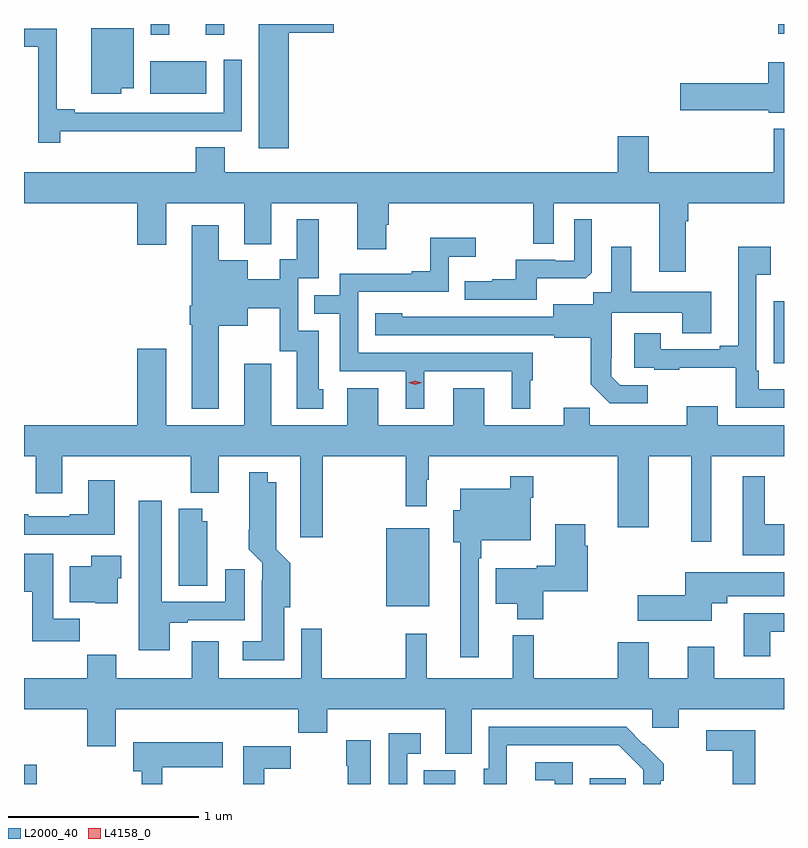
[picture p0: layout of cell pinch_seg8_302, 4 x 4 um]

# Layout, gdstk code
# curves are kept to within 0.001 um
import gdstk
lib = gdstk.Library(unit=1e-6, precision=1e-09)
def R(c, l, rs):  # rectangles x0, y0, x1, y1
    for r in rs: c.add(gdstk.rectangle(r[:2], r[2:], *l))
def P(c, l, *ps):  # polygons
    for p in ps: c.add(gdstk.Polygon(p, *l))
L2000_40 = (2000, 40)
L4158_0 = (4158, 0)

pinch_seg8_302 = lib.new_cell('pinch_seg8_302')
R(pinch_seg8_302, L2000_40, [(533.511,1146.743,533.578,1146.844), (535.616,1146.743,535.78,1146.816), (536.489,1146.743,536.677,1146.772), (535.418,1147.679,535.645,1148.089), (537.456,1148.957,537.511,1149.283), (534.176,1150.376,534.469,1150.546), (534.177,1150.686,534.275,1150.743), (534.467,1150.686,534.566,1150.743), (537.48,1150.691,537.511,1150.743)])
P(pinch_seg8_302, L2000_40, [(534.905,1150.697),(535.141,1150.697),(535.141,1150.743),(534.746,1150.743),(534.746,1150.089),(534.905,1150.089)],
  [(534.022,1150.406),(534.088,1150.406),(534.088,1150.72),(533.864,1150.72),(533.864,1150.376),(534.022,1150.376)],
  [(533.702,1150.178),(534.332,1150.178),(534.332,1150.179),(534.657,1150.179),(534.657,1150.555),(534.561,1150.555),(534.561,1150.275),(533.779,1150.275),(533.779,1150.295),(533.684,1150.295),(533.684,1150.719),(533.511,1150.719),(533.511,1150.623),(533.586,1150.623),(533.586,1150.119),(533.702,1150.119)],
  [(537.511,1150.543),(537.428,1150.543),(537.428,1150.43),(536.964,1150.43),(536.964,1150.288),(537.432,1150.288),(537.432,1150.277),(537.511,1150.277)],
  [(536.995,1149.704),(537.008,1149.704),(537.008,1149.8),(537.511,1149.8),(537.511,1150.192),(537.457,1150.192),(537.457,1149.964),(536.8,1149.964),(536.8,1150.153),(536.636,1150.153),(536.636,1149.964),(534.568,1149.964),(534.568,1150.094),(534.416,1150.094),(534.416,1149.964),(533.511,1149.964),(533.511,1149.8),(534.107,1149.8),(534.107,1149.582),(534.259,1149.582),(534.259,1149.8),(534.671,1149.8),(534.671,1149.584),(534.811,1149.584),(534.811,1149.8),(535.265,1149.8),(535.265,1149.558),(535.417,1149.558),(535.417,1149.687),(535.43,1149.687),(535.43,1149.8),(536.19,1149.8),(536.19,1149.586),(536.298,1149.586),(536.298,1149.8),(536.855,1149.8),(536.855,1149.438),(536.995,1149.438)],
  [(534.535,1149.155),(534.688,1149.155),(534.688,1149.248),(534.858,1149.248),(534.858,1149.021),(534.947,1149.021),(534.947,1148.718),(535.087,1148.718),(535.087,1148.82),(535.063,1148.82),(535.063,1149.129),(534.954,1149.129),(534.954,1149.405),(535.063,1149.405),(535.063,1149.715),(534.947,1149.715),(534.947,1149.506),(534.857,1149.506),(534.857,1149.4),(534.688,1149.4),(534.688,1149.499),(534.535,1149.499),(534.535,1149.685),(534.395,1149.685),(534.395,1149.259),(534.383,1149.259),(534.383,1149.159),(534.395,1149.159),(534.395,1148.717),(534.535,1148.717)],
  [(536.209,1149.404),(536.467,1149.404),(536.499,1149.435),(536.499,1149.715),(536.406,1149.715),(536.406,1149.498),(536.306,1149.498),(536.306,1149.501),(536.099,1149.501),(536.099,1149.4),(535.975,1149.4),(535.975,1149.388),(535.831,1149.388),(535.831,1149.291),(536.209,1149.291)],
  [(535.618,1148.916),(536.078,1148.916),(536.078,1148.717),(536.176,1148.717),(536.176,1148.868),(536.188,1148.868),(536.188,1149.012),(535.269,1149.012),(535.269,1149.333),(535.746,1149.333),(535.746,1149.518),(535.888,1149.518),(535.888,1149.617),(535.648,1149.617),(535.648,1149.442),(535.553,1149.442),(535.553,1149.429),(535.173,1149.429),(535.173,1149.315),(535.039,1149.315),(535.039,1149.219),(535.173,1149.219),(535.173,1148.916),(535.52,1148.916),(535.52,1148.717),(535.618,1148.717)],
  [(537.511,1148.821),(537.379,1148.821),(537.379,1148.917),(537.366,1148.917),(537.366,1149.422),(537.442,1149.422),(537.442,1149.571),(537.269,1149.571),(537.269,1149.049),(537.173,1149.049),(537.173,1149.03),(536.863,1149.03),(536.863,1149.115),(536.723,1149.115),(536.723,1148.934),(536.827,1148.934),(536.827,1148.922),(536.959,1148.922),(536.959,1148.933),(537.258,1148.933),(537.258,1148.724),(537.511,1148.724)],
  [(536.794,1148.841),(536.649,1148.841),(536.602,1148.888),(536.602,1148.983),(536.604,1148.983),(536.604,1149.224),(536.975,1149.224),(536.975,1149.115),(537.127,1149.115),(537.127,1149.334),(536.707,1149.334),(536.707,1149.571),(536.603,1149.571),(536.603,1149.332),(536.508,1149.332),(536.508,1149.268),(536.297,1149.268),(536.297,1149.201),(535.503,1149.202),(535.503,1149.22),(535.359,1149.22),(535.359,1149.105),(536.301,1149.105),(536.301,1149.093),(536.493,1149.093),(536.493,1148.847),(536.593,1148.747),(536.794,1148.747)],
  [(537.023,1148.019),(537.127,1148.019),(537.127,1148.468),(537.511,1148.468),(537.511,1148.632),(537.163,1148.632),(537.163,1148.731),(536.999,1148.731),(536.999,1148.632),(536.489,1148.632),(536.489,1148.723),(536.351,1148.723),(536.351,1148.632),(535.933,1148.632),(535.933,1148.827),(535.769,1148.827),(535.769,1148.632),(535.375,1148.632),(535.375,1148.827),(535.211,1148.827),(535.211,1148.632),(534.811,1148.632),(534.811,1148.956),(534.671,1148.956),(534.671,1148.632),(534.259,1148.632),(534.259,1149.034),(534.107,1149.034),(534.107,1148.632),(533.511,1148.632),(533.511,1148.468),(533.573,1148.468),(533.573,1148.274),(533.713,1148.274),(533.713,1148.468),(534.388,1148.468),(534.388,1148.276),(534.535,1148.276),(534.535,1148.468),(534.965,1148.468),(534.965,1148.043),(535.083,1148.043),(535.083,1148.468),(535.521,1148.468),(535.521,1148.205),(535.63,1148.205),(535.63,1148.345),(535.642,1148.345),(535.642,1148.468),(536.636,1148.468),(536.636,1148.094),(536.8,1148.094),(536.8,1148.468),(537.023,1148.468)],
  [(534.88,1147.674),(534.911,1147.674),(534.911,1147.906),(534.839,1147.978),(534.838,1148.332),(534.793,1148.332),(534.793,1148.383),(534.696,1148.383),(534.695,1147.978),(534.765,1147.908),(534.765,1147.814),(534.761,1147.814),(534.761,1147.495),(534.663,1147.495),(534.663,1147.394),(534.88,1147.394)],
  [(537.511,1148.11),(537.409,1148.11),(537.409,1148.362),(537.293,1148.362),(537.293,1147.946),(537.511,1147.946)],
  [(535.905,1147.931),(535.918,1147.931),(535.918,1148.027),(536.178,1148.027),(536.178,1148.249),(536.191,1148.249),(536.191,1148.362),(536.07,1148.362),(536.07,1148.296),(535.808,1148.296),(535.808,1148.185),(535.769,1148.185),(535.769,1148.015),(535.808,1148.015),(535.808,1147.41),(535.905,1147.41)],
  [(533.989,1148.341),(533.849,1148.341),(533.849,1148.164),(533.753,1148.164),(533.753,1148.151),(533.533,1148.151),(533.533,1148.164),(533.511,1148.164),(533.511,1148.055),(533.989,1148.055)],
  [(534.277,1147.593),(534.373,1147.593),(534.373,1147.605),(534.673,1147.605),(534.673,1147.873),(534.569,1147.873),(534.569,1147.701),(534.235,1147.701),(534.235,1148.233),(534.116,1148.233),(534.116,1147.446),(534.277,1147.446)],
  [(534.475,1148.127),(534.448,1148.127),(534.448,1148.191),(534.326,1148.191),(534.326,1147.786),(534.475,1147.786)],
  [(536.243,1147.757),(536.477,1147.757),(536.477,1147.997),(536.464,1147.997),(536.464,1148.11),(536.306,1148.11),(536.306,1147.892),(536.21,1147.892),(536.21,1147.879),(535.994,1147.879),(535.994,1147.691),(536.108,1147.691),(536.108,1147.61),(536.243,1147.61)],
  [(533.804,1147.612),(533.665,1147.612),(533.665,1147.954),(533.511,1147.954),(533.511,1147.754),(533.555,1147.754),(533.555,1147.494),(533.804,1147.494)],
  [(534.004,1147.827),(534.022,1147.827),(534.022,1147.945),(533.864,1147.945),(533.864,1147.888),(533.753,1147.888),(533.753,1147.7),(533.886,1147.7),(533.886,1147.694),(534.004,1147.694)],
  [(537.13,1147.694),(537.211,1147.694),(537.211,1147.73),(537.511,1147.73),(537.511,1147.858),(536.99,1147.858),(536.99,1147.736),(536.742,1147.736),(536.742,1147.601),(537.13,1147.601)],
  [(537.439,1147.545),(537.511,1147.545),(537.511,1147.641),(537.299,1147.641),(537.299,1147.416),(537.439,1147.416)],
  [(535.867,1147.136),(536.817,1147.136),(536.817,1147.038),(536.956,1147.038),(536.956,1147.136),(537.511,1147.136),(537.511,1147.3),(537.145,1147.3),(537.145,1147.465),(537.005,1147.465),(537.005,1147.3),(536.8,1147.3),(536.8,1147.489),(536.636,1147.489),(536.636,1147.3),(536.194,1147.3),(536.194,1147.525),(536.084,1147.525),(536.084,1147.3),(535.631,1147.3),(535.631,1147.534),(535.521,1147.534),(535.521,1147.3),(535.078,1147.3),(535.078,1147.561),(534.969,1147.561),(534.969,1147.3),(534.535,1147.3),(534.535,1147.495),(534.395,1147.495),(534.395,1147.3),(533.997,1147.3),(533.997,1147.424),(533.845,1147.424),(533.845,1147.3),(533.511,1147.3),(533.511,1147.136),(533.843,1147.136),(533.843,1146.942),(533.995,1146.942),(533.995,1147.136),(534.955,1147.136),(534.955,1147.012),(535.107,1147.012),(535.107,1147.136),(535.727,1147.136),(535.727,1146.901),(535.867,1146.901)],
  [(536.053,1146.948),(536.641,1146.948),(536.769,1146.819),(536.769,1146.743),(536.862,1146.743),(536.862,1146.761),(536.877,1146.761),(536.877,1146.849),(536.68,1147.044),(535.956,1147.044),(535.956,1146.822),(535.931,1146.822),(535.931,1146.743),(536.053,1146.743)],
  [(537.359,1147.026),(537.102,1147.026),(537.102,1146.918),(537.242,1146.918),(537.242,1146.743),(537.359,1146.743)],
  [(535.527,1146.903),(535.6,1146.903),(535.6,1147.009),(535.431,1147.009),(535.431,1146.743),(535.527,1146.743)],
  [(535.336,1146.973),(535.207,1146.973),(535.207,1146.838),(535.214,1146.838),(535.214,1146.743),(535.336,1146.743)],
  [(534.238,1146.83),(534.556,1146.83),(534.556,1146.964),(534.086,1146.964),(534.086,1146.81),(534.131,1146.81),(534.131,1146.743),(534.238,1146.743)],
  [(534.775,1146.824),(534.914,1146.824),(534.914,1146.943),(534.665,1146.943),(534.665,1146.743),(534.775,1146.743)],
  [(536.4,1146.858),(536.202,1146.858),(536.202,1146.762),(536.304,1146.762),(536.304,1146.743),(536.4,1146.743)])
P(pinch_seg8_302, L4158_0, [(535.569,1148.845),(535.533,1148.855),(535.533,1148.855),(535.533,1148.856),(535.569,1148.865),(535.605,1148.856),(535.605,1148.855),(535.605,1148.855)])

lib.write_gds('pinch_seg8_302.gds')
